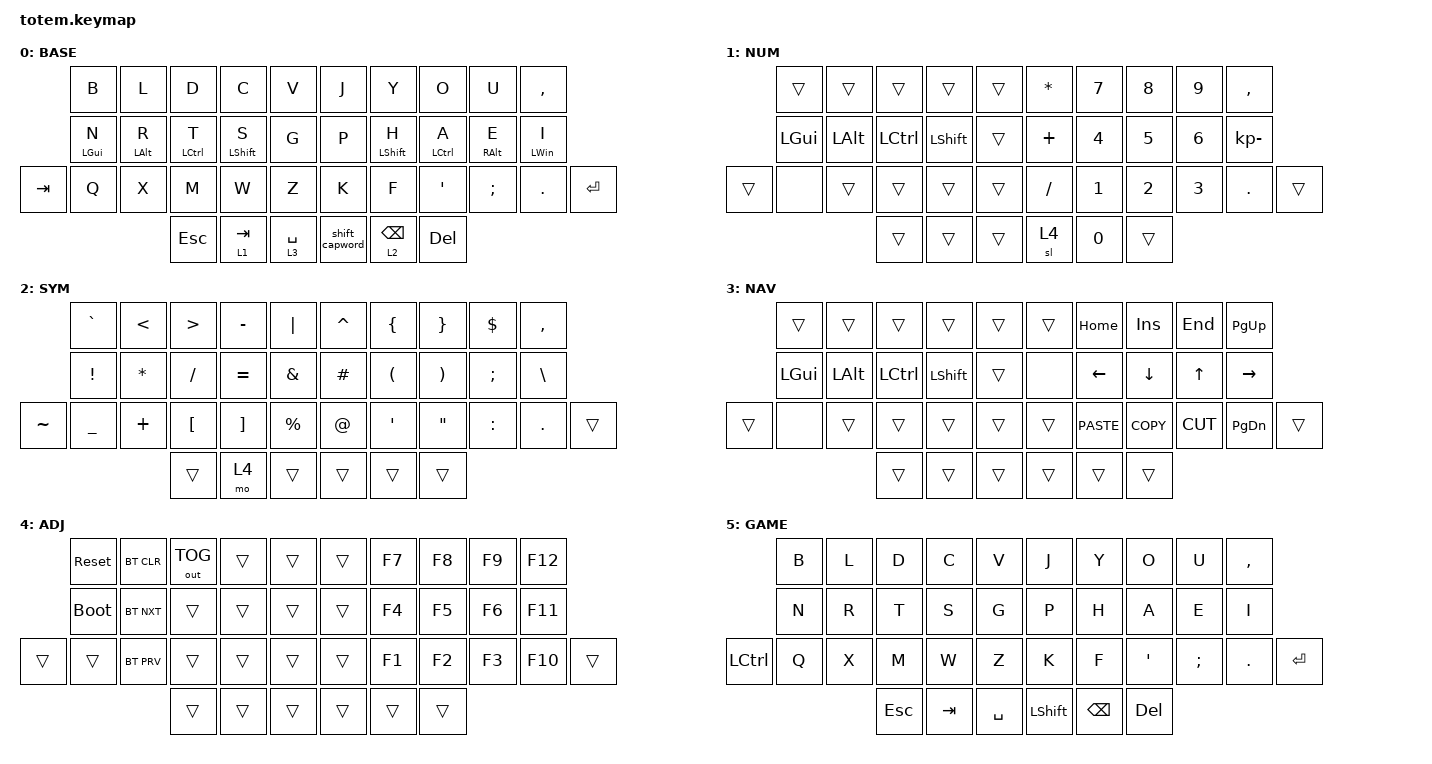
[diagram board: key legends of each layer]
//
//                                                        ▀▀▀▀▀     ▀▀▀▀▀          ▀▀█▀▀
//                                                        ▄▀▀▀▄  ▄  ▄▀▀▀▄  ▄  ▄▀▀▀▄  █  ▄▀▀▀▄
//                                                        █   █  █  █   █  █  █   █  █  █   █
//                                                         ▀▀▀   █   ▀▀▀   █   ▀▀▀   ▀   ▀▀▀
//                                                               █      ▄▄▄█▄▄▄    █   █  
//                                                               ▀      █  █  █     █▄█
//                                                             ▀▀▀▀▀    █  █  █      ▀
//                                                                      ▀  ▀  ▀
//
// ▄▄▄▄▄▄▄▄▄▄▄▄▄▄▄▄▄▄▄▄▄▄▄▄▄▄▄▄▄▄▄▄▄▄▄▄▄▄▄▄▄▄▄▄▄▄▄▄▄▄▄▄▄▄▄▄▄▄▄▄▄▄▄▄▄▄▄▄▄▄▄▄▄▄▄▄▄▄▄▄▄▄▄▄▄▄▄▄▄▄▄▄▄▄▄▄▄▄▄▄▄▄▄▄▄▄▄▄▄▄▄▄▄▄▄▄▄▄▄▄▄▄▄▄▄▄▄▄▄▄▄▄▄▄▄▄▄▄▄▄▄▄▄▄▄▄▄▄▄

#include <behaviors.dtsi>
#include <dt-bindings/zmk/bt.h>
#include <dt-bindings/zmk/keys.h>
#include <dt-bindings/zmk/outputs.h>

#define BASE 0
#define NAV  1
#define SYM  2
#define ADJ  3
#define TVP1 4
#define TVP2 5

&mt {
    quick-tap-ms = <175>;
    global-quick-tap;
    flavor = "balanced";
    tapping-term-ms = <280>;
    require-prior-idle-ms = <150>;
    hold-trigger-on-release;
};

&sk { quick-release; };

&lt {
    require-prior-idle-ms = <0>;
    flavor = "balanced";
};

/ {
    combos {
        compatible = "zmk,combos";

        combo_esc {
            timeout-ms = <50>;
            key-positions = <20 0>;
            bindings = <&kp ESC>;
            require-prior-idle-ms = <125>;
        };

        combo_game {
            timeout-ms = <100>;
            key-positions = <20 31>;
            bindings = <&tog 5>;
            require-prior-idle-ms = <150>;
        };

        q_mark {
            bindings = <&kp QUESTION>;
            key-positions = <29 30>;
            layers = <0>;
            timeout-ms = <50>;
            require-prior-idle-ms = <150>;
        };
    };

    behaviors {
        HRM_L: HRM_L {
            compatible = "zmk,behavior-hold-tap";
            label = "HRM_L";
            bindings = <&kp>, <&kp>;

            #binding-cells = <2>;
            tapping-term-ms = <280>;
            quick-tap-ms = <175>;
            require-prior-idle-ms = <150>;
            flavor = "balanced";
            hold-trigger-key-positions = <5 6 7 8 9 15 16 17 18 19 26 27 28 29 30 31 35 36 37 32 33 34>;
            hold-trigger-on-release;
        };

        HRM_R: HRM_R {
            compatible = "zmk,behavior-hold-tap";
            label = "HRM_R";
            bindings = <&kp>, <&kp>;

            #binding-cells = <2>;
            tapping-term-ms = <280>;
            quick-tap-ms = <175>;
            require-prior-idle-ms = <150>;
            flavor = "balanced";
            hold-trigger-key-positions = <0 1 2 3 4 10 11 12 13 14 20 21 22 23 24 25 32 33 34 35 36 37>;
            hold-trigger-on-release;
        };

        back_sym: back_sym {
            compatible = "zmk,behavior-hold-tap";
            label = "BACK_SYM";
            bindings = <&mo>, <&kp>;

            #binding-cells = <2>;
            tapping-term-ms = <200>;
            quick-tap-ms = <175>;
            flavor = "hold-preferred";
        };

        shift_capword: shift_capword {
            compatible = "zmk,behavior-tap-dance";
            label = "SHIFT_CAPWORD";
            #binding-cells = <0>;
            bindings = <&quick_sticky_shift LEFT_SHIFT>, <&caps_word>;

            tapping-term-ms = <200>;
        };

        quick_sticky_shift: quick_sticky_shift {
            compatible = "zmk,behavior-sticky-key";
            label = "QUICK_STICKY_SHIFT";
            bindings = <&sk>;
            #binding-cells = <1>;
            release-after-ms = <1000>;
            quick-release;
            ignore-modifiers;
        };
    };

    keymap {
        compatible = "zmk,keymap";

        // ▄▄▄▄▄▄▄▄▄▄▄▄▄▄▄▄▄▄▄▄▄▄▄▄▄▄▄▄▄▄▄▄▄▄▄▄▄▄▄▄▄▄▄▄▄▄▄▄▄▄▄▄▄▄▄▄▄▄▄▄▄▄▄▄▄▄▄▄▄▄▄▄▄▄▄▄▄▄▄▄▄▄▄▄▄▄▄▄▄▄▄▄▄▄▄▄▄▄▄▄▄▄▄▄▄▄▄▄▄▄▄▄▄▄▄▄▄▄▄▄▄▄▄▄▄▄▄▄▄▄▄▄▄▄▄▄▄▄▄▄▄▄▄▄▄▄▄▄▄

        base_layer {
            // ┏━━━━━━━━━━━━━━━━━━━━━━━━━━━━━━━━━━━━━━━┓

            label = "BASE";

            // ┗━━━━━━━━━━━━━━━━━━━━━━━━━━━━━━━━━━━━━━━┛
            //             ┏━━━━━━━━━━━┳━━━━━━━━━━━┳━━━━━━━━━━━┳━━━━━━━━━━━┳━━━━━━━━━━━┓   ┏━━━━━━━━━━━┳━━━━━━━━━━━┳━━━━━━━━━━━┳━━━━━━━━━━━┳━━━━━━━━━━━┓
            //             ┃     Q     ┃     W     ┃     F     ┃     P     ┃     G     ┃   ┃     J     ┃     L     ┃     U     ┃     Y     ┃     ;     ┃
            //             ┣━━━━━━━━━━━╋━━━━━━━━━━━╋━━━━━━━━━━━╋━━━━━━━━━━━╋━━━━━━━━━━━┫   ┣━━━━━━━━━━━╋━━━━━━━━━━━╋━━━━━━━━━━━╋━━━━━━━━━━━╋━━━━━━━━━━━┫
            //             ┃     A     ┃     R     ┃     S     ┃     T     ┃     D     ┃   ┃     H     ┃     N     ┃     E     ┃     I     ┃     O     ┃
            // ┏━━━━━━━━━━━╋━━━━━━━━━━━╋━━━━━━━━━━━╋━━━━━━━━━━━╋━━━━━━━━━━━╋━━━━━━━━━━━┫   ┣━━━━━━━━━━━╋━━━━━━━━━━━╋━━━━━━━━━━━╋━━━━━━━━━━━╋━━━━━━━━━━━╋━━━━━━━━━━━┓
            // ┃     Q     ┃     Z     ┃     X     ┃     C     ┃     V     ┃     B     ┃   ┃     K     ┃     M     ┃     ,     ┃     .     ┃     /     ┃     \     ┃
            // ┗━━━━━━━━━━━┻━━━━━━━━━━━┻━━━━━━━━━━━╋━━━━━━━━━━━╋━━━━━━━━━━━╋━━━━━━━━━━━┫   ┣━━━━━━━━━━━╋━━━━━━━━━━━╋━━━━━━━━━━━╋━━━━━━━━━━━┻━━━━━━━━━━━┻━━━━━━━━━━━┛
            //                                     ┃    DEL    ┃    TAB    ┃    SPC    ┃   ┃   ENTER   ┃           ┃   BSPC    ┃
            //                                     ┗━━━━━━━━━━━┻━━━━━━━━━━━┻━━━━━━━━━━━┛   ┗━━━━━━━━━━━┻━━━━━━━━━━━┻━━━━━━━━━━━┛

            bindings = <
         &kp B          &kp L          &kp D           &kp C                &kp V          &kp J           &kp Y                  &kp O           &kp U          &kp COMMA
         &HRM_L LGUI N  &HRM_L LALT R  &HRM_L LCTRL T  &HRM_L LEFT_SHIFT S  &kp G          &kp P           &HRM_R LEFT_SHIFT H    &HRM_R LCTRL A  &HRM_R RALT E  &HRM_R LEFT_WIN I
&kp TAB  &kp Q          &kp X          &kp M           &kp W                &kp Z          &kp K           &kp F                  &kp SQT         &kp SEMICOLON  &kp PERIOD         &kp ENTER
                                       &kp ESCAPE      &lt 1 TAB            &lt 3 SPACE    &shift_capword  &back_sym 2 BACKSPACE  &kp DEL
            >;
        };

        num_layer {
            // ┏━━━━━━━━━━━━━━━━━━━━━━━━━━━━━━━━━━━━━━━┓

            label = "NUM";

            // ┗━━━━━━━━━━━━━━━━━━━━━━━━━━━━━━━━━━━━━━━┛
            //             ┏━━━━━━━━━━━┳━━━━━━━━━━━┳━━━━━━━━━━━┳━━━━━━━━━━━┳━━━━━━━━━━━┓   ┏━━━━━━━━━━━┳━━━━━━━━━━━┳━━━━━━━━━━━┳━━━━━━━━━━━┳━━━━━━━━━━━┓
            //             ┃           ┃           ┃     UP    ┃           ┃     {     ┃   ┃     }     ┃     7     ┃     8     ┃     9     ┃     +     ┃
            //             ┣━━━━━━━━━━━╋━━━━━━━━━━━╋━━━━━━━━━━━╋━━━━━━━━━━━╋━━━━━━━━━━━┫   ┣━━━━━━━━━━━╋━━━━━━━━━━━╋━━━━━━━━━━━╋━━━━━━━━━━━╋━━━━━━━━━━━┫
            //             ┃   SHIFT   ┃   LEFT    ┃    DOWN   ┃   RIGHT   ┃     [     ┃   ┃     ]     ┃     4     ┃     5     ┃     6     ┃     -     ┃
            // ┏━━━━━━━━━━━╋━━━━━━━━━━━╋━━━━━━━━━━━╋━━━━━━━━━━━╋━━━━━━━━━━━╋━━━━━━━━━━━┫   ┣━━━━━━━━━━━╋━━━━━━━━━━━╋━━━━━━━━━━━╋━━━━━━━━━━━╋━━━━━━━━━━━╋━━━━━━━━━━━┓
            // ┃           ┃           ┃   P UP    ┃  C LOCK   ┃  P DOWN   ┃     (     ┃   ┃     )     ┃     1     ┃     2     ┃     3     ┃     *     ┃           ┃
            // ┗━━━━━━━━━━━┻━━━━━━━━━━━┻━━━━━━━━━━━╋━━━━━━━━━━━╋━━━━━━━━━━━╋━━━━━━━━━━━┫   ┣━━━━━━━━━━━╋━━━━━━━━━━━╋━━━━━━━━━━━╋━━━━━━━━━━━┻━━━━━━━━━━━┻━━━━━━━━━━━┛
            //                                     ┃           ┃    TAB    ┃    SPC    ┃   ┃    DEL    ┃     0     ┃           ┃
            //                                     ┗━━━━━━━━━━━┻━━━━━━━━━━━┻━━━━━━━━━━━┛   ┗━━━━━━━━━━━┻━━━━━━━━━━━┻━━━━━━━━━━━┛

            bindings = <
        &trans    &trans    &trans     &trans     &trans    &kp STAR   &kp N7  &kp N8  &kp N9  &kp COMMA
        &kp LGUI  &kp LALT  &kp LCTRL  &kp LSHFT  &trans    &kp PLUS   &kp N4  &kp N5  &kp N6  &kp KP_MINUS
&trans  &none     &trans    &trans     &trans     &trans    &kp SLASH  &kp N1  &kp N2  &kp N3  &kp PERIOD    &trans
                            &trans     &trans     &trans    &sl 4      &kp N0  &trans
            >;
        };

        sym_layer {
            // ┏━━━━━━━━━━━━━━━━━━━━━━━━━━━━━━━━━━━━━━━┓

            label = "SYM";

            // ┗━━━━━━━━━━━━━━━━━━━━━━━━━━━━━━━━━━━━━━━┛
            //             ┏━━━━━━━━━━━┳━━━━━━━━━━━┳━━━━━━━━━━━┳━━━━━━━━━━━┳━━━━━━━━━━━┓   ┏━━━━━━━━━━━┳━━━━━━━━━━━┳━━━━━━━━━━━┳━━━━━━━━━━━┳━━━━━━━━━━━┓
            //             ┃     !     ┃     @     ┃     #     ┃     $     ┃     %     ┃   ┃     ˆ     ┃     &     ┃     Ü     ┃     '     ┃     "     ┃
            //             ┣━━━━━━━━━━━╋━━━━━━━━━━━╋━━━━━━━━━━━╋━━━━━━━━━━━╋━━━━━━━━━━━┫   ┣━━━━━━━━━━━╋━━━━━━━━━━━╋━━━━━━━━━━━╋━━━━━━━━━━━╋━━━━━━━━━━━┫
            //             ┃     Ä     ┃           ┃    SZ     ┃           ┃           ┃   ┃   MUTE    ┃   YEN     ┃   EURO    ┃  POUND    ┃     Ö     ┃
            // ┏━━━━━━━━━━━╋━━━━━━━━━━━╋━━━━━━━━━━━╋━━━━━━━━━━━╋━━━━━━━━━━━╋━━━━━━━━━━━┫   ┣━━━━━━━━━━━╋━━━━━━━━━━━╋━━━━━━━━━━━╋━━━━━━━━━━━╋━━━━━━━━━━━╋━━━━━━━━━━━┓
            // ┃           ┃  EMAIL1   ┃  EMAIL2   ┃           ┃           ┃           ┃   ┃   VOL-    ┃   VOL+    ┃   LAST    ┃   NEXT    ┃     \     ┃           ┃
            // ┗━━━━━━━━━━━┻━━━━━━━━━━━┻━━━━━━━━━━━╋━━━━━━━━━━━╋━━━━━━━━━━━╋━━━━━━━━━━━┫   ┣━━━━━━━━━━━╋━━━━━━━━━━━╋━━━━━━━━━━━╋━━━━━━━━━━━┻━━━━━━━━━━━┻━━━━━━━━━━━┛
            //                                     ┃           ┃    GIF    ┃    ADJ    ┃   ┃           ┃           ┃           ┃
            //                                     ┗━━━━━━━━━━━┻━━━━━━━━━━━┻━━━━━━━━━━━┛   ┗━━━━━━━━━━━┻━━━━━━━━━━━┻━━━━━━━━━━━┛

            bindings = <
           &kp GRAVE        &kp LESS_THAN  &kp GREATER_THAN  &kp MINUS          &kp PIPE         &kp CARET    &kp LEFT_BRACE        &kp RIGHT_BRACE        &kp DOLLAR  &kp COMMA
           &kp EXCLAMATION  &kp ASTERISK   &kp FSLH          &kp EQUAL          &kp AMPERSAND    &kp HASH     &kp LEFT_PARENTHESIS  &kp RIGHT_PARENTHESIS  &kp SEMI    &kp BACKSLASH
&kp TILDE  &kp UNDER        &kp PLUS       &kp LEFT_BRACKET  &kp RIGHT_BRACKET  &kp PERCENT      &kp AT_SIGN  &kp SINGLE_QUOTE      &kp DOUBLE_QUOTES      &kp COLON   &kp PERIOD     &trans
                                           &trans            &mo 4              &trans           &trans       &trans                &trans
            >;
        };

        nav_layer {
            // ┏━━━━━━━━━━━━━━━━━━━━━━━━━━━━━━━━━━━━━━━┓

            label = "NAV";

            // ┗━━━━━━━━━━━━━━━━━━━━━━━━━━━━━━━━━━━━━━━┛
            //             ┏━━━━━━━━━━━┳━━━━━━━━━━━┳━━━━━━━━━━━┳━━━━━━━━━━━┳━━━━━━━━━━━┓   ┏━━━━━━━━━━━┳━━━━━━━━━━━┳━━━━━━━━━━━┳━━━━━━━━━━━┳━━━━━━━━━━━┓
            //             ┃ SOLO      ┃ TOGGLE IN ┃ RESET ROT ┃ TOGGLE OUT┃ TAKE SNAP ┃   ┃           ┃           ┃           ┃           ┃           ┃
            //             ┣━━━━━━━━━━━╋━━━━━━━━━━━╋━━━━━━━━━━━╋━━━━━━━━━━━╋━━━━━━━━━━━┫   ┣━━━━━━━━━━━╋━━━━━━━━━━━╋━━━━━━━━━━━╋━━━━━━━━━━━╋━━━━━━━━━━━┫
            //             ┃ ---       ┃ LAST KEY  ┃ NEW KEY   ┃ NEXT KEY  ┃ ENTER     ┃   ┃           ┃           ┃           ┃           ┃           ┃
            // ┏━━━━━━━━━━━╋━━━━━━━━━━━╋━━━━━━━━━━━╋━━━━━━━━━━━╋━━━━━━━━━━━╋━━━━━━━━━━━┫   ┣━━━━━━━━━━━╋━━━━━━━━━━━╋━━━━━━━━━━━╋━━━━━━━━━━━╋━━━━━━━━━━━╋━━━━━━━━━━━┓
            // ┃           ┃ FULLSCR   ┃ CPY2BRUSH ┃ DEL HEAD  ┃ PSTinPLACE┃ BOOK MARK ┃   ┃           ┃           ┃           ┃           ┃           ┃           ┃
            // ┗━━━━━━━━━━━┻━━━━━━━━━━━┻━━━━━━━━━━━╋━━━━━━━━━━━╋━━━━━━━━━━━╋━━━━━━━━━━━┫   ┣━━━━━━━━━━━╋━━━━━━━━━━━╋━━━━━━━━━━━╋━━━━━━━━━━━┻━━━━━━━━━━━┻━━━━━━━━━━━┛
            //                                     ┃           ┃ REDO/SAV1 ┃TRANS/WARP ┃   ┃           ┃           ┃           ┃
            //                                     ┗━━━━━━━━━━━┻━━━━━━━━━━━┻━━━━━━━━━━━┛   ┗━━━━━━━━━━━┻━━━━━━━━━━━┻━━━━━━━━━━━┛

            bindings = <
        &trans    &trans    &trans     &trans     &trans    &trans  &kp HOME     &kp INS     &kp END       &kp PAGE_UP
        &kp LGUI  &kp LALT  &kp LCTRL  &kp LSHFT  &trans    &none   &kp LEFT     &kp DOWN    &kp UP_ARROW  &kp RIGHT
&trans  &none     &trans    &trans     &trans     &trans    &trans  &kp K_PASTE  &kp K_COPY  &kp K_CUT     &kp PAGE_DOWN  &trans
                            &trans     &trans     &trans    &trans  &trans       &trans
            >;
        };

        adjust_layer {
            // ┏━━━━━━━━━━━━━━━━━━━━━━━━━━━━━━━━━━━━━━━┓

            label = "ADJ";

            // ┗━━━━━━━━━━━━━━━━━━━━━━━━━━━━━━━━━━━━━━━┛
            //             ┏━━━━━━━━━━━┳━━━━━━━━━━━┳━━━━━━━━━━━┳━━━━━━━━━━━┳━━━━━━━━━━━┓   ┏━━━━━━━━━━━┳━━━━━━━━━━━┳━━━━━━━━━━━┳━━━━━━━━━━━┳━━━━━━━━━━━┓
            //             ┃   RESET   ┃ BT CLEAR  ┃  OUT TOG  ┃           ┃           ┃   ┃           ┃    F7     ┃    F8     ┃    F9     ┃    F12    ┃
            //             ┣━━━━━━━━━━━╋━━━━━━━━━━━╋━━━━━━━━━━━╋━━━━━━━━━━━╋━━━━━━━━━━━┫   ┣━━━━━━━━━━━╋━━━━━━━━━━━╋━━━━━━━━━━━╋━━━━━━━━━━━╋━━━━━━━━━━━┫
            //             ┃ BOOTLOAD  ┃ BT NEXT   ┃           ┃           ┃           ┃   ┃           ┃    F4     ┃    F5     ┃    F6     ┃    F11    ┃
            // ┏━━━━━━━━━━━╋━━━━━━━━━━━╋━━━━━━━━━━━╋━━━━━━━━━━━╋━━━━━━━━━━━╋━━━━━━━━━━━┫   ┣━━━━━━━━━━━╋━━━━━━━━━━━╋━━━━━━━━━━━╋━━━━━━━━━━━╋━━━━━━━━━━━╋━━━━━━━━━━━┓
            // ┃           ┃           ┃ BT PREV   ┃           ┃           ┃           ┃   ┃           ┃    F1     ┃    F2     ┃    F3     ┃    F10    ┃           ┃
            // ┗━━━━━━━━━━━┻━━━━━━━━━━━┻━━━━━━━━━━━╋━━━━━━━━━━━╋━━━━━━━━━━━╋━━━━━━━━━━━┫   ┣━━━━━━━━━━━╋━━━━━━━━━━━╋━━━━━━━━━━━╋━━━━━━━━━━━┻━━━━━━━━━━━┻━━━━━━━━━━━┛
            //                                     ┃           ┃           ┃           ┃   ┃           ┃           ┃           ┃
            //                                     ┗━━━━━━━━━━━┻━━━━━━━━━━━┻━━━━━━━━━━━┛   ┗━━━━━━━━━━━┻━━━━━━━━━━━┻━━━━━━━━━━━┛

            bindings = <
        &sys_reset   &bt BT_CLR  &out OUT_TOG  &trans  &trans    &trans  &kp F7  &kp F8  &kp F9  &kp F12
        &bootloader  &bt BT_NXT  &trans        &trans  &trans    &trans  &kp F4  &kp F5  &kp F6  &kp F11
&trans  &trans       &bt BT_PRV  &trans        &trans  &trans    &trans  &kp F1  &kp F2  &kp F3  &kp F10  &trans
                                 &trans        &trans  &trans    &trans  &trans  &trans
            >;
        };

        Gaming {
            // ┏━━━━━━━━━━━━━━━━━━━━━━━━━━━━━━━━━━━━━━━┓

            label = "GAME";

            // ┗━━━━━━━━━━━━━━━━━━━━━━━━━━━━━━━━━━━━━━━┛
            //             ┏━━━━━━━━━━━┳━━━━━━━━━━━┳━━━━━━━━━━━┳━━━━━━━━━━━┳━━━━━━━━━━━┓   ┏━━━━━━━━━━━┳━━━━━━━━━━━┳━━━━━━━━━━━┳━━━━━━━━━━━┳━━━━━━━━━━━┓
            //             ┃ NEXT FILE ┃ MARK IN   ┃ ROTATE    ┃ MARK OUT  ┃ SHOW SNAP ┃   ┃           ┃           ┃           ┃           ┃           ┃
            //             ┣━━━━━━━━━━━╋━━━━━━━━━━━╋━━━━━━━━━━━╋━━━━━━━━━━━╋━━━━━━━━━━━┫   ┣━━━━━━━━━━━╋━━━━━━━━━━━╋━━━━━━━━━━━╋━━━━━━━━━━━╋━━━━━━━━━━━┫
            //             ┃ TVP II    ┃ LEFT      ┃ PAN       ┃ RIGHT     ┃ PLAY/FLIP ┃   ┃           ┃           ┃           ┃           ┃           ┃
            // ┏━━━━━━━━━━━╋━━━━━━━━━━━╋━━━━━━━━━━━╋━━━━━━━━━━━╋━━━━━━━━━━━╋━━━━━━━━━━━┫   ┣━━━━━━━━━━━╋━━━━━━━━━━━╋━━━━━━━━━━━╋━━━━━━━━━━━╋━━━━━━━━━━━╋━━━━━━━━━━━┓
            // ┃ FULLSCR   ┃ SHIFT     ┃ COPY      ┃ DELETE    ┃ PASTE     ┃ IMG MARK  ┃   ┃           ┃           ┃           ┃           ┃           ┃           ┃
            // ┗━━━━━━━━━━━┻━━━━━━━━━━━┻━━━━━━━━━━━╋━━━━━━━━━━━╋━━━━━━━━━━━╋━━━━━━━━━━━┫   ┣━━━━━━━━━━━╋━━━━━━━━━━━╋━━━━━━━━━━━╋━━━━━━━━━━━┻━━━━━━━━━━━┻━━━━━━━━━━━┛
            //                                     ┃           ┃ UNDO/SAVE ┃  SEL/MOV  ┃   ┃           ┃           ┃           ┃
            //                                     ┗━━━━━━━━━━━┻━━━━━━━━━━━┻━━━━━━━━━━━┛   ┗━━━━━━━━━━━┻━━━━━━━━━━━┻━━━━━━━━━━━┛

            bindings = <
           &kp B  &kp L  &kp D    &kp C    &kp V        &kp J      &kp Y     &kp O    &kp U     &kp COMMA
           &kp N  &kp R  &kp T    &kp S    &kp G        &kp P      &kp H     &kp A    &kp E     &kp I
&kp LCTRL  &kp Q  &kp X  &kp M    &kp W    &kp Z        &kp K      &kp F     &kp SQT  &kp SEMI  &kp DOT    &kp RET
                         &kp ESC  &kp TAB  &kp SPACE    &kp LSHFT  &kp BSPC  &kp DEL
            >;
        };
    };
};
